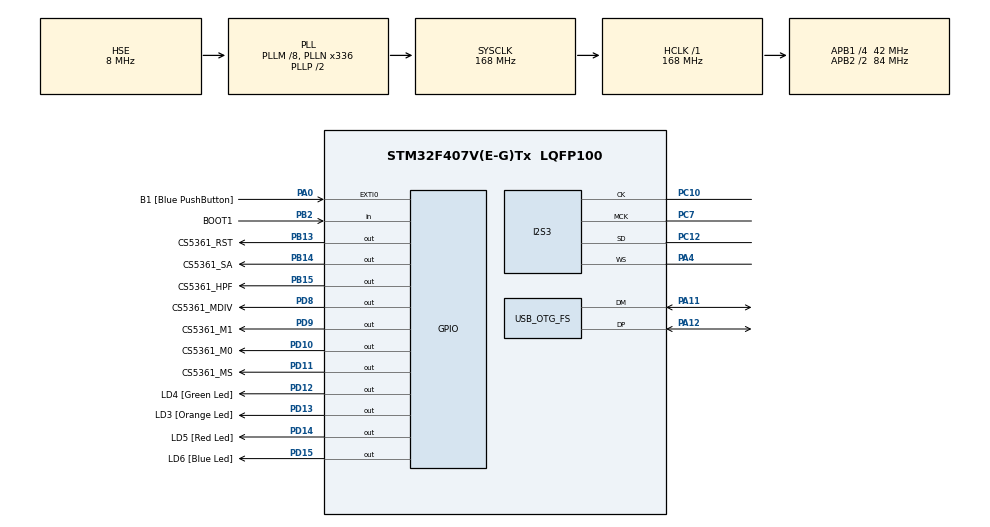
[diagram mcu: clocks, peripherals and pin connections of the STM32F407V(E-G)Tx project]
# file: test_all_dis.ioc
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Dma.Request0=SPI3_RX
Dma.SPI3_RX.0.Direction=DMA_PERIPH_TO_MEMORY
Dma.SPI3_RX.0.FIFOMode=DMA_FIFOMODE_DISABLE
Dma.SPI3_RX.0.Instance=DMA1_Stream0
Dma.SPI3_RX.0.MemDataAlignment=DMA_MDATAALIGN_HALFWORD
Dma.SPI3_RX.0.MemInc=DMA_MINC_ENABLE
Dma.SPI3_RX.0.Mode=DMA_CIRCULAR
Dma.SPI3_RX.0.PeriphDataAlignment=DMA_PDATAALIGN_HALFWORD
Dma.SPI3_RX.0.PeriphInc=DMA_PINC_DISABLE
Dma.SPI3_RX.0.Priority=DMA_PRIORITY_VERY_HIGH
I2S3.AudioFreq=I2S_AUDIOFREQ_48K
I2S3.DataFormat=I2S_DATAFORMAT_24B
I2S3.ErrorAudioFreq=-2.34 %
I2S3.FullDuplexMode=I2S_FULLDUPLEXMODE_DISABLE
I2S3.Instance=SPI$Index
I2S3.Mode=I2S_MODE_MASTER_RX
I2S3.RealAudioFreq=46.875 KHz
I2S3.VirtualMode=I2S_MODE_MASTER
Mcu.Family=STM32F4
Mcu.Name=STM32F407V(E-G)Tx
Mcu.Package=LQFP100
NVIC.DMA1_Stream0_IRQn=true\:0\:0\:false\:false\:true\:false\:true\:true
NVIC.OTG_FS_IRQn=true\:0\:0\:false\:false\:true\:true\:true\:true
NVIC.PriorityGroup=NVIC_PRIORITYGROUP_0
NVIC.SPI3_IRQn=true\:0\:0\:false\:false\:true\:true\:true\:true
NVIC.TIM4_IRQn=true\:0\:0\:false\:false\:true\:true\:true\:true
PA0-WKUP.GPIO_Label=B1 [Blue PushButton]
PA0-WKUP.GPIO_ModeDefaultEXTI=GPIO_MODE_EVT_RISING
PA0-WKUP.GPIO_PuPd=GPIO_NOPULL
PA0-WKUP.Signal=GPXTI0
PA10.GPIO_Label=OTG_FS_ID
PA10.GPIO_Mode=GPIO_MODE_AF_PP
PA10.GPIO_PuPd=GPIO_NOPULL
PA10.GPIO_Speed=GPIO_SPEED_FREQ_LOW
PA10.Signal=USB_OTG_FS_ID
PA11.GPIO_Mode=GPIO_MODE_AF_PP
PA11.GPIO_PuPd=GPIO_NOPULL
PA11.GPIO_Speed=GPIO_SPEED_FREQ_VERY_HIGH
PA11.Mode=Device_Only
PA11.Signal=USB_OTG_FS_DM
PA12.GPIO_Mode=GPIO_MODE_AF_PP
PA12.GPIO_PuPd=GPIO_NOPULL
PA12.GPIO_Speed=GPIO_SPEED_FREQ_VERY_HIGH
PA12.Mode=Device_Only
PA12.Signal=USB_OTG_FS_DP
PA13.GPIO_Label=SWDIO
PA13.Signal=SYS_JTMS-SWDIO
PA14.GPIO_Label=SWCLK
PA14.Signal=SYS_JTCK-SWCLK
PA4.Mode=Half_Duplex_Master
PA4.Signal=I2S3_WS
PA9.GPIO_Label=VBUS_FS
PA9.GPIO_Mode=GPIO_MODE_INPUT
PA9.GPIO_PuPd=GPIO_NOPULL
PA9.Signal=USB_OTG_FS_VBUS
PB13.GPIO_Label=CS5361_RST
PB13.Signal=GPIO_Output
PB14.GPIO_Label=CS5361_SA
PB14.Signal=GPIO_Output
PB15.GPIO_Label=CS5361_HPF
PB15.Signal=GPIO_Output
PB2.GPIO_Label=BOOT1
PB2.GPIO_Mode=GPIO_MODE_INPUT
PB2.GPIO_PuPd=GPIO_NOPULL
PB2.Signal=GPIO_Input
PB3.GPIO_Label=SWO
PB3.Signal=SYS_JTDO-SWO
PC10.Mode=Half_Duplex_Master
PC10.Signal=I2S3_CK
PC12.Mode=Half_Duplex_Master
PC12.Signal=I2S3_SD
PC14-OSC32_IN.GPIO_Label=PC14-OSC32_IN
PC14-OSC32_IN.Mode=LSE-External-Oscillator
PC14-OSC32_IN.Signal=RCC_OSC32_IN
PC15-OSC32_OUT.GPIO_Label=PC15-OSC32_OUT
PC15-OSC32_OUT.Mode=LSE-External-Oscillator
PC15-OSC32_OUT.Signal=RCC_OSC32_OUT
PC7.Mode=Master_Clock_Activated
PC7.Signal=I2S3_MCK
PD10.GPIO_Label=CS5361_M0
PD10.Signal=GPIO_Output
PD11.GPIO_Label=CS5361_MS
PD11.Signal=GPIO_Output
PD12.GPIO_Label=LD4 [Green Led]
PD12.GPIO_PuPd=GPIO_NOPULL
PD12.GPIO_Speed=GPIO_SPEED_FREQ_LOW
PD12.Signal=GPIO_Output
PD13.GPIO_Label=LD3 [Orange Led]
PD13.GPIO_PuPd=GPIO_NOPULL
PD13.GPIO_Speed=GPIO_SPEED_FREQ_LOW
PD13.Signal=GPIO_Output
PD14.GPIO_Label=LD5 [Red Led]
PD14.GPIO_PuPd=GPIO_NOPULL
PD14.GPIO_Speed=GPIO_SPEED_FREQ_LOW
PD14.Signal=GPIO_Output
PD15.GPIO_Label=LD6 [Blue Led]
PD15.GPIO_PuPd=GPIO_NOPULL
PD15.GPIO_Speed=GPIO_SPEED_FREQ_LOW
PD15.Signal=GPIO_Output
PD8.GPIO_Label=CS5361_MDIV
PD8.Signal=GPIO_Output
PD9.GPIO_Label=CS5361_M1
PD9.Signal=GPIO_Output
PH0-OSC_IN.GPIO_Label=PH0-OSC_IN
PH0-OSC_IN.Mode=HSE-External-Oscillator
PH0-OSC_IN.Signal=RCC_OSC_IN
PH1-OSC_OUT.GPIO_Label=PH1-OSC_OUT
PH1-OSC_OUT.Mode=HSE-External-Oscillator
PH1-OSC_OUT.Signal=RCC_OSC_OUT
ProjectManager.HeapSize=0x2000
ProjectManager.StackSize=0x4000
ProjectManager.TargetToolchain=STM32CubeIDE
RCC.48MHZClocksFreq_Value=48000000
RCC.AHBFreq_Value=168000000
RCC.APB1CLKDivider=RCC_HCLK_DIV4
RCC.APB1Freq_Value=42000000
RCC.APB1TimFreq_Value=84000000
RCC.APB2CLKDivider=RCC_HCLK_DIV2
RCC.APB2Freq_Value=84000000
RCC.APB2TimFreq_Value=168000000
RCC.CortexFreq_Value=168000000
RCC.HCLKFreq_Value=168000000
RCC.HSE_VALUE=8000000
RCC.HSI_VALUE=16000000
RCC.PLLM=8
RCC.PLLN=336
RCC.PLLQ=7
RCC.SYSCLKFreq_VALUE=168000000
RCC.SYSCLKSource=RCC_SYSCLKSOURCE_PLLCLK
RCC.VCOOutputFreq_Value=336000000
TIM4.Period=249
TIM4.Prescaler=6
USB_DEVICE.CLASS_NAME_FS=AUDIO
USB_DEVICE.USBD_AUDIO_FREQ-AUDIO_FS=48000
USB_DEVICE.VirtualMode-AUDIO_FS=Audio
USB_DEVICE.VirtualModeFS=Audio_FS
USB_OTG_FS.VirtualMode=Device_Only
VP_CRC_VS_CRC.Mode=CRC_Activate
VP_TIM4_VS_ClockSourceINT.Mode=Internal
VP_USB_DEVICE_VS_USB_DEVICE_AUDIO_FS.Mode=AUDIO_FS
board=STM32F407G-DISC1

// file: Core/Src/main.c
/* USER CODE BEGIN Header */
/**
 ******************************************************************************
 * @file           : main.c
 * @brief          : Main program body
 ******************************************************************************
 * @attention
 *
 * Copyright (c) 2024 STMicroelectronics.
 * All rights reserved.
 *
 * This software is licensed under terms that can be found in the LICENSE file
 * in the root directory of this software component.
 * If no LICENSE file comes with this software, it is provided AS-IS.
 *
 ******************************************************************************
 */
/* USER CODE END Header */
#include "main.h"
#include "usb_device.h"

/* USER CODE BEGIN Includes */
#include <math.h>
#include "usb_device.h"
#include "CS5361.h"
#include <string.h>
#include <stdio.h>
#include <stdbool.h>
#include "usbd_audio_if.h"
#include <stdint.h>
/* USER CODE END Includes */

/* USER CODE BEGIN PD */
#ifndef SPI3
#define SPI3 SPI3_BASE
#endif
/* USER CODE END PD */

CRC_HandleTypeDef hcrc;

I2S_HandleTypeDef hi2s3;
DMA_HandleTypeDef hdma_spi3_rx;

TIM_HandleTypeDef htim4;

/* USER CODE BEGIN PV */
extern USBD_HandleTypeDef hUsbDeviceFS;
// Buffer cho dữ liệu từ CS5361 - đủ lớn để chứa dữ liệu stereo 24-bit
int32_t adc_buffer[AUDIO_IN_PACKET] = {0};

// Hệ số khuếch đại cho tín hiệu âm thanh
uint8_t volume_gain = 4; // Khuếch đại mặc định là 4 lần

// Biến theo dõi trạng thái
volatile uint8_t i2s_active = 0;
volatile uint8_t usb_active = 0;
volatile uint32_t last_i2s_activity = 0;
/* USER CODE END PV */

void SystemClock_Config(void);
static void MX_GPIO_Init(void);
static void MX_DMA_Init(void);
static void MX_TIM4_Init(void);
static void MX_CRC_Init(void);
static void MX_I2S3_Init(void);

/* USER CODE BEGIN 0 */
// /**
//  * @brief Điều chỉnh âm lượng từ CS5361
//  * @param gain: Hệ số khuếch đại (1-10)
//  */
// void CS5361_Set_Volume(uint8_t gain)
// {
//   if (gain > 0 && gain <= 10)
//   {
//     volume_gain = gain;
//   }
// }

/**
 * @brief Bắt đầu nhận dữ liệu từ CS5361 qua I2S DMA
 */
void I2S_TO_CS5361(void)
{
  HAL_I2S_Receive_DMA(&hi2s3, (uint16_t *)adc_buffer, AUDIO_IN_PACKET * 2);
}

/**
 * @brief Callback khi nhận được nửa buffer DMA
 */
void HAL_I2S_RxHalfCpltCallback(I2S_HandleTypeDef *hi2s)
{
  if (hi2s->Instance == hi2s3.Instance)
  {
    HAL_GPIO_TogglePin(LD4_GPIO_Port, LD4_Pin);
    last_i2s_activity = HAL_GetTick();
    USBD_AUDIO_HandleTypeDef *haudio = (USBD_AUDIO_HandleTypeDef *)hUsbDeviceFS.pClassData;
    if (haudio != NULL)
    {
      uint8_t *buf_part = haudio->in_buffer;
      for (uint16_t i = 0; i < (AUDIO_IN_PACKET/2); i+=4)
      {
        int16_t left_high = adc_buffer[i * 2];
        int16_t left_low = adc_buffer[i * 2 + 1];
        int32_t sample = left_high << 16 | left_low;
        sample = (sample >> 8);
        int j = i/4;
        buf_part[j * 3] = sample & 0xFF;
        buf_part[j * 3 + 1] = (sample >> 8) & 0xFF;
        buf_part[j * 3 + 2] = (sample >> 16) & 0xFF;
      }
      if (!haudio->in_buffer_half)
      {
        haudio->in_buffer_half = 1;
        USBD_LL_Transmit(&hUsbDeviceFS, AUDIO_IN_EP, haudio->in_buffer, AUDIO_IN_PACKET);
      }
    }
  }
}

/**
 * @brief Callback khi nhận đủ buffer DMA
 */
void HAL_I2S_RxCpltCallback(I2S_HandleTypeDef *hi2s)
{
  if (hi2s->Instance == hi2s3.Instance)
  {
    HAL_GPIO_TogglePin(LD3_GPIO_Port, LD3_Pin);
    last_i2s_activity = HAL_GetTick();

    USBD_AUDIO_HandleTypeDef *haudio = (USBD_AUDIO_HandleTypeDef *)hUsbDeviceFS.pClassData;
    if (haudio != NULL)
    {
      uint8_t *buf_part = haudio->in_buffer + (AUDIO_IN_PACKET );
      for (uint16_t i = 0; i < (AUDIO_IN_PACKET/2); i+=4)
      {
        int16_t left_high = adc_buffer[(i + (AUDIO_IN_PACKET / 2)) * 2];
        int16_t left_low = adc_buffer[(i + (AUDIO_IN_PACKET / 2)) * 2 + 1];
        int32_t sample = left_high << 16 | left_low;
        sample = (sample >> 8);
        int j = i/4;
        buf_part[j * 3] = sample & 0xFF;
        buf_part[j * 3 + 1] = (sample >> 8) & 0xFF;
        buf_part[j * 3 + 2] = (sample >> 16) & 0xFF;
      }
      if (haudio->in_buffer_half)
      {
        haudio->in_buffer_half = 0;
        USBD_LL_Transmit(&hUsbDeviceFS, AUDIO_IN_EP, haudio->in_buffer, AUDIO_IN_PACKET);
      }
    }
  }
}

/**
 * @brief Kiểm tra USB Audio đã sẵn sàng chưa
 */
uint8_t USB_Audio_Ready(void)
{
  if (hUsbDeviceFS.pClassData != NULL)
  {
    usb_active = 1;
    return 1;
  }
  usb_active = 0;
  return 0;
}
/* USER CODE END 0 */

int main(void)
{

  /* MCU Configuration--------------------------------------------------------*/

  /* Reset of all peripherals, Initializes the Flash interface and the Systick. */
  HAL_Init();

  /* Configure the system clock */
  SystemClock_Config();

  /* Initialize all configured peripherals */
  MX_GPIO_Init();
  MX_DMA_Init();
  MX_TIM4_Init();
  MX_CRC_Init();
  MX_USB_DEVICE_Init();
  MX_I2S3_Init();
  /* USER CODE BEGIN 2 */
  // Tắt tất cả đèn LED
  HAL_GPIO_WritePin(LD3_GPIO_Port, LD3_Pin, GPIO_PIN_RESET); // Đèn xanh
  HAL_GPIO_WritePin(LD4_GPIO_Port, LD4_Pin, GPIO_PIN_RESET); // Đèn xanh lá
  HAL_GPIO_WritePin(LD5_GPIO_Port, LD5_Pin, GPIO_PIN_RESET); // Đèn đỏ
  HAL_GPIO_WritePin(LD6_GPIO_Port, LD6_Pin, GPIO_PIN_RESET); // Đèn màu xanh dương

  HAL_GPIO_WritePin(LD3_GPIO_Port, LD3_Pin, GPIO_PIN_SET);
  HAL_Delay(200);
  HAL_GPIO_WritePin(LD3_GPIO_Port, LD3_Pin, GPIO_PIN_RESET);
  HAL_GPIO_WritePin(LD4_GPIO_Port, LD4_Pin, GPIO_PIN_SET);
  HAL_Delay(200);
  HAL_GPIO_WritePin(LD4_GPIO_Port, LD4_Pin, GPIO_PIN_RESET);
  cs5361_init();
  HAL_Delay(50);
  HAL_GPIO_WritePin(LD6_GPIO_Port, LD6_Pin, GPIO_PIN_SET);
  HAL_Delay(200);
  HAL_GPIO_WritePin(LD6_GPIO_Port, LD6_Pin, GPIO_PIN_RESET);
  I2S_TO_CS5361();
  /* USER CODE END 2 */

  /* Infinite loop */
  while (1)
  {

  }
}

void SystemClock_Config(void)
{
  RCC_OscInitTypeDef RCC_OscInitStruct = {0};
  RCC_ClkInitTypeDef RCC_ClkInitStruct = {0};

  /** Configure the main internal regulator output voltage
   */
  __HAL_RCC_PWR_CLK_ENABLE();
  __HAL_PWR_VOLTAGESCALING_CONFIG(PWR_REGULATOR_VOLTAGE_SCALE1);

  /** Initializes the RCC Oscillators according to the specified parameters
   * in the RCC_OscInitTypeDef structure.
   */
  RCC_OscInitStruct.OscillatorType = RCC_OSCILLATORTYPE_HSE;
  RCC_OscInitStruct.HSEState = RCC_HSE_ON;
  RCC_OscInitStruct.PLL.PLLState = RCC_PLL_ON;
  RCC_OscInitStruct.PLL.PLLSource = RCC_PLLSOURCE_HSE;
  RCC_OscInitStruct.PLL.PLLM = 8;
  RCC_OscInitStruct.PLL.PLLN = 336;
  RCC_OscInitStruct.PLL.PLLP = RCC_PLLP_DIV2;
  RCC_OscInitStruct.PLL.PLLQ = 7;
  if (HAL_RCC_OscConfig(&RCC_OscInitStruct) != HAL_OK)
  {
    Error_Handler();
  }

  /** Initializes the CPU, AHB and APB buses clocks
   */
  RCC_ClkInitStruct.ClockType = RCC_CLOCKTYPE_HCLK | RCC_CLOCKTYPE_SYSCLK | RCC_CLOCKTYPE_PCLK1 | RCC_CLOCKTYPE_PCLK2;
  RCC_ClkInitStruct.SYSCLKSource = RCC_SYSCLKSOURCE_PLLCLK;
  RCC_ClkInitStruct.AHBCLKDivider = RCC_SYSCLK_DIV1;
  RCC_ClkInitStruct.APB1CLKDivider = RCC_HCLK_DIV4;
  RCC_ClkInitStruct.APB2CLKDivider = RCC_HCLK_DIV2;

  if (HAL_RCC_ClockConfig(&RCC_ClkInitStruct, FLASH_LATENCY_5) != HAL_OK)
  {
    Error_Handler();
  }
}

static void MX_CRC_Init(void)
{

  hcrc.Instance = CRC;
  if (HAL_CRC_Init(&hcrc) != HAL_OK)
  {
    Error_Handler();
  }
}

static void MX_I2S3_Init(void)
{

  hi2s3.Instance = SPI3;
  hi2s3.Init.Mode = I2S_MODE_MASTER_RX;
  hi2s3.Init.Standard = I2S_STANDARD_PHILIPS;
  hi2s3.Init.DataFormat = I2S_DATAFORMAT_24B;
  hi2s3.Init.MCLKOutput = I2S_MCLKOUTPUT_ENABLE;
  hi2s3.Init.AudioFreq = I2S_AUDIOFREQ_48K;
  hi2s3.Init.CPOL = I2S_CPOL_LOW;
  hi2s3.Init.ClockSource = I2S_CLOCK_PLL;
  hi2s3.Init.FullDuplexMode = I2S_FULLDUPLEXMODE_DISABLE;
  if (HAL_I2S_Init(&hi2s3) != HAL_OK)
  {
    Error_Handler();
  }
}

static void MX_TIM4_Init(void)
{

  TIM_ClockConfigTypeDef sClockSourceConfig = {0};
  TIM_MasterConfigTypeDef sMasterConfig = {0};

  htim4.Instance = TIM4;
  htim4.Init.Prescaler = 6;
  htim4.Init.CounterMode = TIM_COUNTERMODE_UP;
  htim4.Init.Period = 249;
  htim4.Init.ClockDivision = TIM_CLOCKDIVISION_DIV1;
  htim4.Init.AutoReloadPreload = TIM_AUTORELOAD_PRELOAD_DISABLE;
  if (HAL_TIM_Base_Init(&htim4) != HAL_OK)
  {
    Error_Handler();
  }
  sClockSourceConfig.ClockSource = TIM_CLOCKSOURCE_INTERNAL;
  if (HAL_TIM_ConfigClockSource(&htim4, &sClockSourceConfig) != HAL_OK)
  {
    Error_Handler();
  }
  sMasterConfig.MasterOutputTrigger = TIM_TRGO_RESET;
  sMasterConfig.MasterSlaveMode = TIM_MASTERSLAVEMODE_DISABLE;
  if (HAL_TIMEx_MasterConfigSynchronization(&htim4, &sMasterConfig) != HAL_OK)
  {
    Error_Handler();
  }
}

static void MX_DMA_Init(void)
{

  /* DMA controller clock enable */
  __HAL_RCC_DMA1_CLK_ENABLE();

  /* DMA interrupt init */
  /* DMA1_Stream0_IRQn interrupt configuration */
  HAL_NVIC_SetPriority(DMA1_Stream0_IRQn, 0, 0);
  HAL_NVIC_EnableIRQ(DMA1_Stream0_IRQn);
}

static void MX_GPIO_Init(void)
{
  GPIO_InitTypeDef GPIO_InitStruct = {0};

  /* GPIO Ports Clock Enable */
  __HAL_RCC_GPIOC_CLK_ENABLE();
  __HAL_RCC_GPIOH_CLK_ENABLE();
  __HAL_RCC_GPIOA_CLK_ENABLE();
  __HAL_RCC_GPIOB_CLK_ENABLE();
  __HAL_RCC_GPIOD_CLK_ENABLE();

  /*Configure GPIO pin Output Level */
  HAL_GPIO_WritePin(GPIOB, CS5361_RST_Pin | CS5361_SA_Pin | CS5361_HPF_Pin, GPIO_PIN_RESET);

  /*Configure GPIO pin Output Level */
  HAL_GPIO_WritePin(GPIOD, CS5361_MDIV_Pin | CS5361_M1_Pin | CS5361_M0_Pin | CS5361_MS_Pin | LD4_Pin | LD3_Pin | LD5_Pin | LD6_Pin, GPIO_PIN_RESET);

  /*Configure GPIO pin : B1_Pin */
  GPIO_InitStruct.Pin = B1_Pin;
  GPIO_InitStruct.Mode = GPIO_MODE_EVT_RISING;
  GPIO_InitStruct.Pull = GPIO_NOPULL;
  HAL_GPIO_Init(B1_GPIO_Port, &GPIO_InitStruct);

  /*Configure GPIO pin : BOOT1_Pin */
  GPIO_InitStruct.Pin = BOOT1_Pin;
  GPIO_InitStruct.Mode = GPIO_MODE_INPUT;
  GPIO_InitStruct.Pull = GPIO_NOPULL;
  HAL_GPIO_Init(BOOT1_GPIO_Port, &GPIO_InitStruct);

  /*Configure GPIO pins : CS5361_RST_Pin CS5361_SA_Pin CS5361_HPF_Pin */
  GPIO_InitStruct.Pin = CS5361_RST_Pin | CS5361_SA_Pin | CS5361_HPF_Pin;
  GPIO_InitStruct.Mode = GPIO_MODE_OUTPUT_PP;
  GPIO_InitStruct.Pull = GPIO_NOPULL;
  GPIO_InitStruct.Speed = GPIO_SPEED_FREQ_LOW;
  HAL_GPIO_Init(GPIOB, &GPIO_InitStruct);

  /*Configure GPIO pins : CS5361_MDIV_Pin CS5361_M1_Pin CS5361_M0_Pin CS5361_MS_Pin
                           LD4_Pin LD3_Pin LD5_Pin LD6_Pin */
  GPIO_InitStruct.Pin = CS5361_MDIV_Pin | CS5361_M1_Pin | CS5361_M0_Pin | CS5361_MS_Pin | LD4_Pin | LD3_Pin | LD5_Pin | LD6_Pin;
  GPIO_InitStruct.Mode = GPIO_MODE_OUTPUT_PP;
  GPIO_InitStruct.Pull = GPIO_NOPULL;
  GPIO_InitStruct.Speed = GPIO_SPEED_FREQ_LOW;
  HAL_GPIO_Init(GPIOD, &GPIO_InitStruct);

}

/* USER CODE BEGIN 4 */
// void HAL_I2S_RxCpltCallback(I2S_HandleTypeDef *hi2s)
//{
//   /* Call CS5361 transfer complete callback */
//   if (hi2s->Instance == SPI3)
//   {
//     cs5361_transfer_complete_callback();
//   }
// }
/* USER CODE END 4 */

void Error_Handler(void)
{
  __disable_irq();
  while (1)
  {
  }
}
